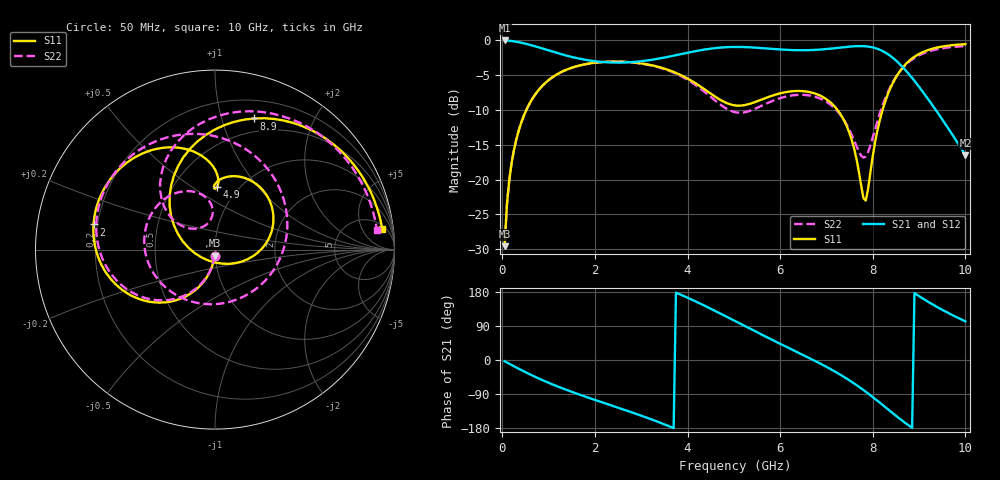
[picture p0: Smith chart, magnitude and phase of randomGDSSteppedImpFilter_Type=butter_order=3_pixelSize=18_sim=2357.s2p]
! freq	dB(S11)	phase(S11)	dB(S12)	phase(S12)
!  dB(S21)	phase(S21)	dB(S22)	phase(S22)
!S-par simulation data
#  GHz  S  DB  R 50
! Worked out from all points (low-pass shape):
!   200 points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, 50 MHz to 10 GHz, reference 50 ohm
!   highest |S21| = -0.01 dB at 50 MHz (marker M1); lowest = -16.5 dB at 10 GHz (marker M2)
!   |S21| within 3 dB of the highest: start of sweep to 2.022 GHz; 2.977 GHz to 8.52 GHz (5.544 GHz wide, 96.4 % of centre)
!   lowest |S11| = -29.6 dB at 50 MHz (marker M3), VSWR 1.07, Z = 49.7 - j3.3 ohm
!   |S11| at or under -10 dB: start of sweep to 519.4 MHz; 7.239 GHz to 8.212 GHz (973.2 MHz wide, 12.6 % of centre)
!   |S22| runs from -29.6 to -0.8 dB; largest |S21 - S12| = 0
!   S11 on the Smith chart (normalised r, x): 50 MHz: 0.99, -0.07; 2 GHz: 0.18, +0.10; 4.9 GHz: 0.80, +0.63; 8.9 GHz: 0.37, +1.28; 10 GHz: 6, +13
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0.05  -29.57 -93.4  -0.01 -3.3  -0.01 -3.3  -29.57 -93.5
0.1  -23.58 -96.8  -0.03 -6.7  -0.03 -6.7  -23.58 -97.1
0.2  -17.67 -103.4  -0.10 -13.2  -0.10 -13.2  -17.67 -104.0
0.5  -10.27 -121.9  -0.48 -32.1  -0.48 -32.1  -10.28 -123.5
1.05  -5.45 -151.5  -1.55 -62.7  -1.55 -62.7  -5.46 -155.0
1.75  -3.48 177.9  -2.74 -94.9  -2.74 -94.9  -3.49 171.3
2  -3.21 168.3  -2.99 -105.4  -2.99 -105.4  -3.22 160.1
2.8  -3.15 139.2  -3.12 -138.3  -3.12 -138.3  -3.18 123.6
3.4  -3.86 118.1  -2.59 -165.0  -2.59 -165.0  -3.93 92.0
4.25  -6.50 92.2  -1.45 150.3  -1.45 150.3  -6.79 30.5
4.9  -9.15 88.2  -0.96 110.6  -0.96 110.6  -10.02 -44.7
5.05  -9.36 89.6  -0.94 101.1  -0.94 101.1  -10.35 -65.8
5.9  -7.79 81.6  -1.26 48.9  -1.26 48.9  -8.53 -165.3
6.7  -7.53 47.9  -1.38 1.0  -1.38 1.0  -8.01 134.7
7.4  -11.76 0.5  -0.96 -46.3  -0.96 -46.3  -11.68 95.5
7.85  -23.01 -119.3  -0.85 -83.8  -0.85 -83.8  -16.67 124.6
8.1  -12.96 156.9  -1.21 -107.6  -1.21 -107.6  -11.61 145.0
8.35  -7.34 124.8  -2.09 -132.4  -2.09 -132.4  -7.09 133.5
8.6  -4.30 99.3  -3.52 -156.6  -3.52 -156.6  -4.34 113.6
8.9  -2.35 73.3  -5.82 176.7  -5.82 176.7  -2.53 88.1
9.35  -1.09 42.0  -9.90 142.6  -9.90 142.6  -1.33 52.5
10  -0.55 7.1  -16.51 101.9  -16.51 101.9  -0.83 6.8
